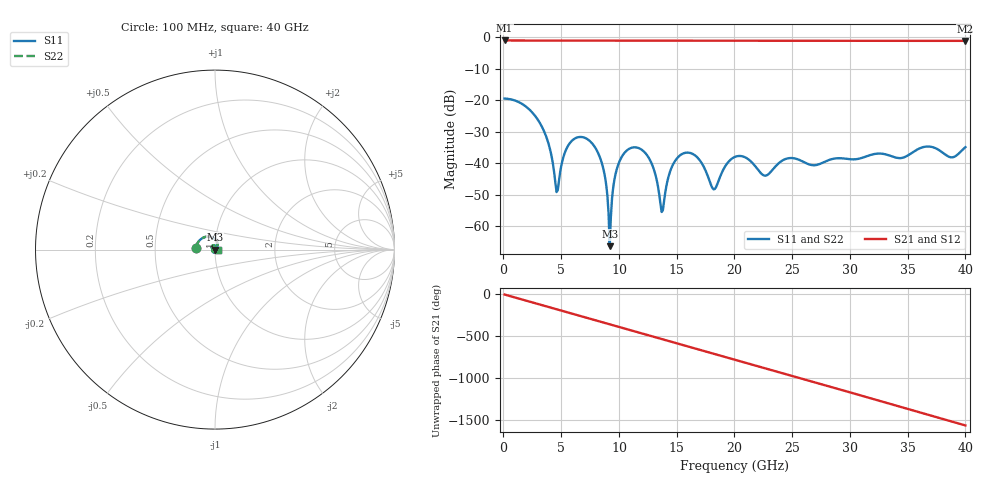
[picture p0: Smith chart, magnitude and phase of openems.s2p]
! T_ts6_ms_20: Microstrip L1, ThunderScope stack, w 0.265 mm, 20 mm
! stackup: ThunderScope Rev5.3 6-layer (FR408HR / FR-4, from the board file)
! ports: 1 near A, 2 far A
! openEMS 0.37.0, staircase, fine mesh (dfine 0.0175 mm), 956725 cells
# Hz S RI R 50
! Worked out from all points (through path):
!   400 points, 100 MHz to 40 GHz, reference 50 ohm
!   highest |S21| = -0.98 dB at 100 MHz (marker M1); lowest = -1.1 dB at 40 GHz (marker M2)
!   group delay of S21, straight-line fit = 109 ps
!   lowest |S11| = -66.4 dB at 9.2 GHz (marker M3), VSWR 1.00, Z = 50 + j0.0468 ohm
!   |S11| at or under -10 dB: start of sweep to end of sweep
!   |S22| runs from -66.4 to -19.5 dB; largest |S21 - S12| = 0
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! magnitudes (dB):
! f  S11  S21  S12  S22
! 100 MHz  -19.5  -1.0  -1.0  -19.5
! 3.2 GHz  -27.5  -1.0  -1.0  -27.5
! 4.1 GHz  -36.6  -1.0  -1.0  -36.6
! 4.6 GHz  -49.2  -1.0  -1.0  -49.2
! 5.4 GHz  -35.9  -1.0  -1.0  -35.9
! 6.8 GHz  -31.7  -1.0  -1.0  -31.7
! 8.6 GHz  -41.0  -1.0  -1.0  -41.0
! 9 GHz  -50.3  -1.0  -1.0  -50.3
! 9.2 GHz  -66.4  -1.0  -1.0  -66.4
! 9.6 GHz  -45.4  -1.0  -1.0  -45.4
! 10.5 GHz  -36.6  -1.0  -1.0  -36.6
! 12.2 GHz  -36.4  -1.0  -1.0  -36.4
! 13.4 GHz  -47.8  -1.0  -1.0  -47.8
! 13.7 GHz  -55.5  -1.0  -1.0  -55.5
! 15.3 GHz  -37.5  -1.0  -1.0  -37.5
! 16.8 GHz  -38.2  -1.0  -1.0  -38.2
! 18.2 GHz  -48.3  -1.1  -1.1  -48.3
! 20.1 GHz  -37.9  -1.1  -1.1  -37.9
! 22.6 GHz  -43.9  -1.1  -1.1  -43.9
! 26.7 GHz  -40.6  -1.1  -1.1  -40.6
! 33.4 GHz  -37.5  -1.1  -1.1  -37.5
! 40 GHz  -34.9  -1.1  -1.1  -34.9
